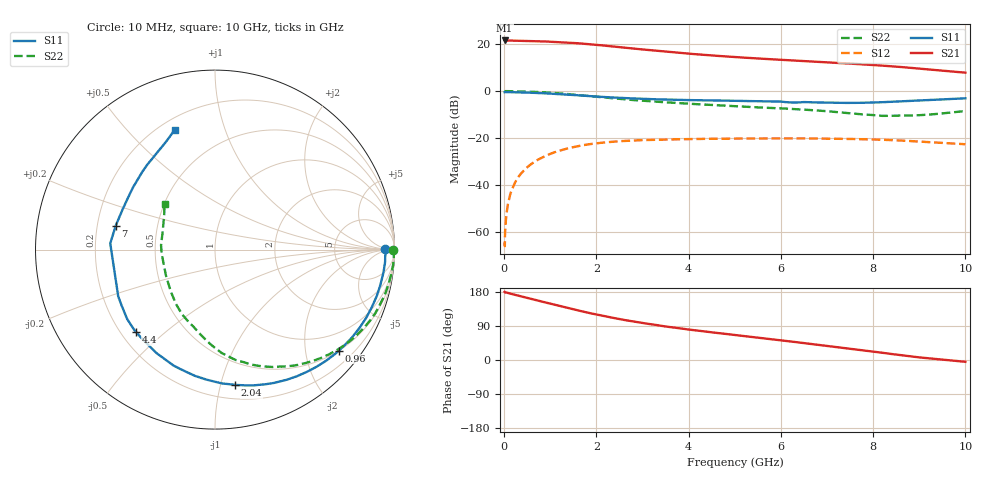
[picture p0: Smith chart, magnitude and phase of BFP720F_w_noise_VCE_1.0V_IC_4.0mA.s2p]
! Infineon Technologies  Discrete & RF Semiconductors
! BFP720F
! VCE =  1.0 V,  IC =  4.0 mA
! Common Emitter S-Parameters:  Jan 2016
# GHz  S  MA  R  50
!  f  S11  S21  S12  S22
! GHz  MAG  ANG  MAG  ANG  MAG  ANG  MAG  ANG
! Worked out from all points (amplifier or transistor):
!   233 points, 10 MHz to 10 GHz, reference 50 ohm
!   highest |S21| = 21.6 dB at 10 MHz (marker M1)
!   |S21| within 3 dB of that: start of sweep to 2.575 GHz
!   unconditionally stable (mu >= 1): 8.64 GHz to end of sweep
!   at 200 MHz: K = 0.02, MSG = 31.0 dB, |S12| = -40.4 dB
!   at 1.74 GHz: K = 0.19, MSG = 21.5 dB, |S12| = -22.9 dB
!   at 10 GHz: K = 1.17, MAG = 12.7 dB, |S12| = -22.6 dB
!   lowest NFmin = 0.41 dB at 450 MHz
!   S11 on the Smith chart (normalised r, x): 10 MHz: 39, +3; 960 MHz: 0.50, -2.73; 2.04 GHz: 0.31, -1.11; 4.4 GHz: 0.26, -0.40; 7 GHz: 0.28, +0.11; 10 GHz: 0.26, +0.68
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0.01  0.9499 0.2  11.98 179.7  0.0006 -28.6  0.9915 -0.1
0.015  0.9509 -0.3  11.87 178.9  0.0005 51.3  0.9957 -0.7
0.02  0.952 -0.7  11.75 178.0  0.001 87.5  1 -1.3
0.07  0.9495 -2.9  11.92 177.4  0.0034 89.0  0.9971 -2.2
0.24  0.9444 -9.7  11.85 171.8  0.0115 84.0  0.9935 -7.3
0.6  0.9241 -24.4  11.6 160.8  0.0286 74.1  0.9689 -18.5
0.96  0.8901 -39.2  11.32 149.8  0.0445 64.3  0.9293 -29.4
1.3  0.8522 -53.0  10.86 139.7  0.0577 55.3  0.8791 -39.7
1.68  0.8041 -68.5  10.3 128.7  0.0697 45.8  0.813 -50.7
2.04  0.7615 -81.5  9.585 119.0  0.0782 37.5  0.7525 -60.0
2.7  0.7041 -101.7  8.238 103.6  0.0878 24.9  0.6579 -74.2
3  0.6866 -109.5  7.713 97.5  0.0906 20.4  0.6252 -79.5
3.4  0.6652 -117.6  7.069 90.4  0.0927 15.0  0.5867 -84.8
4  0.644 -128.1  6.274 80.4  0.0952 8.0  0.5386 -91.3
4.4  0.6357 -133.7  5.843 74.6  0.0963 4.1  0.5131 -94.7
5.1  0.6205 -142.8  5.237 64.6  0.0978 -2.5  0.472 -100.9
6  0.5986 -154.3  4.647 51.9  0.0987 -10.4  0.4299 -109.8
6.8  0.5731 170.7  4.212 40.3  0.0979 -17.5  0.385 -121.9
7  0.569 166.6  4.114 37.2  0.0976 -19.3  0.3735 -125.5
8.4  0.5928 133.2  3.379 15.8  0.0906 -31.9  0.2979 -175.4
9  0.6306 120.5  3.011 6.9  0.0843 -36.5  0.3073 161.8
10  0.7033 108.7  2.472 -4.8  0.074 -40.7  0.3778 138.1
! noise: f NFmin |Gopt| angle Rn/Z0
0.45  0.41  0.54  3  0.21
0.9  0.44  0.54  10  0.19
1.8  0.49  0.5  21  0.17
2.4  0.53  0.48  29  0.15
5.5  0.73  0.4  74  0.1
10  1.03  0.26  -115  0.14
